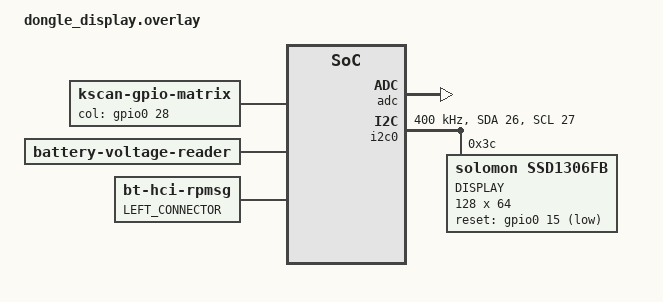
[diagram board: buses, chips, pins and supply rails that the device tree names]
#include <dt-bindings/zmk/matrix_transform.h>

/ {
    chosen {
        zmk,kscan = &kscan0;
        zmk,display = &oled;
        zmk,battery = &vbatt;
    };

    kscan0: kscan {
        compatible = "zmk,kscan-gpio-matrix";
        label = "KSCAN";
        diode-direction = "col2row";
        
        col-gpios
            = <&gpio0 28 GPIO_ACTIVE_HIGH>
            ;
    };

    vbatt: vbatt {
        compatible = "zmk,battery-voltage-reader";
        label = "BATTERY";
        io-channel = <&adc>;
        output-ohms = <47>;
        full-ohms = <(47 + 47)>;
        voltage-divider = <2>;
    };

    pro_micro_i2c: &i2c0 {};
    pro_micro: &gpio0 {};

    left_connector: left_connector {
        compatible = "zmk,bt-hci-rpmsg";
        label = "LEFT_CONNECTOR";
    };
};

&adc {
    status = "okay";
};

&gpiote {
    status = "okay";
};

&gpio0 {
    status = "okay";
};

&i2c0 {
    compatible = "nordic,nrf-twi";
    status = "okay";
    sda-pin = <26>;
    scl-pin = <27>;
    clock-frequency = <I2C_BITRATE_FAST>;
    
    oled: ssd1306@3c {
        compatible = "solomon,ssd1306fb";
        reg = <0x3c>;
        label = "DISPLAY";
        width = <128>;
        height = <64>;
        segment-offset = <0>;
        page-offset = <0>;
        display-max-width = <128>;
        display-max-height = <64>;
        segment-multiplex = <1>;
        prechargep = <0x22>;
        prechargen = <1>;
        reset-gpios = <&gpio0 15 GPIO_ACTIVE_LOW>;
    };
};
